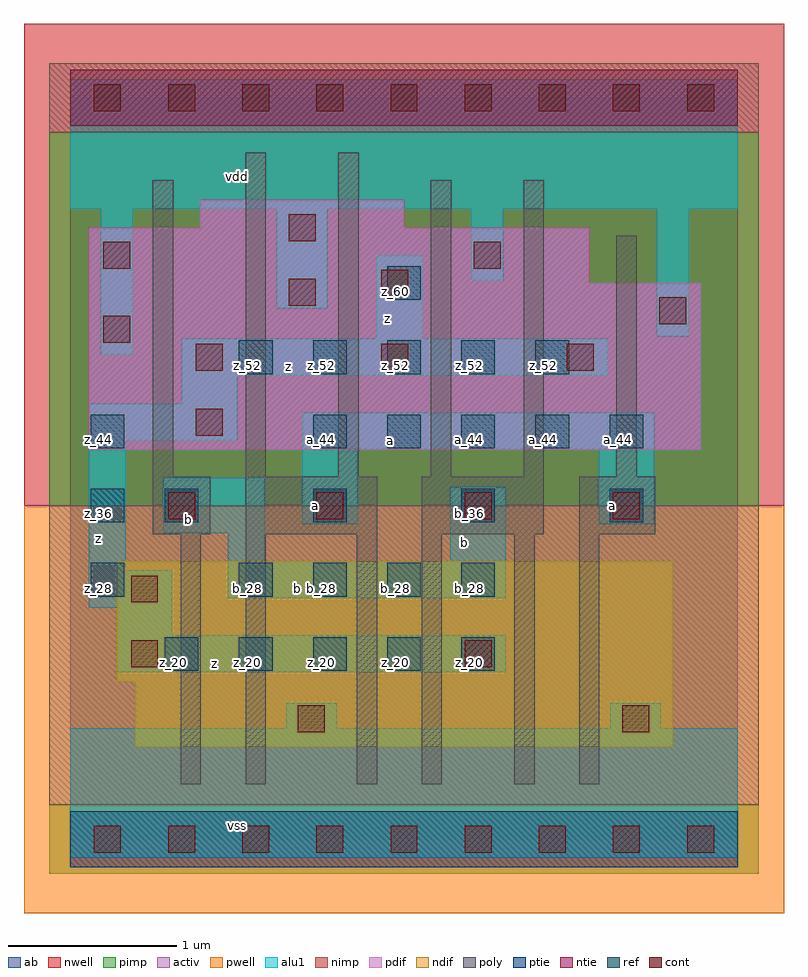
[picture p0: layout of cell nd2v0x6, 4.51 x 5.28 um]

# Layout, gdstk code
import gdstk
lib = gdstk.Library(unit=1e-6, precision=2.5e-09)
def R(c, l, rs):  # rectangles x0, y0, x1, y1
    for r in rs: c.add(gdstk.rectangle(r[:2], r[2:], *l))
def A(c, l, x, y, w, h, nx, ny, dx, dy):  # array of equal rectangles
    R(c, l, [(x+i*dx, y+j*dy, x+i*dx+w, y+j*dy+h) for i in range(nx) for j in range(ny)])
ndif = (3, 0)
pdif = (4, 0)
ntie = (5, 0)
ptie = (6, 0)
ref = (24, 0)
cont = (25, 0)
pwell = (41, 0)
nwell = (42, 0)
activ = (43, 0)
pimp = (44, 0)
nimp = (45, 0)
poly = (46, 0)
alu1 = (49, 0)
ab = (63, 0)

nd2v0x6 = lib.new_cell('nd2v0x6')
R(nd2v0x6, ndif, [(0.385,0.55,3.575,0.935), (0.275,0.935,3.575,1.65)])
R(nd2v0x6, pdif, [(0.11,2.31,3.74,3.3), (0.11,3.3,3.08,3.63), (0.77,3.63,1.98,3.795)])
R(nd2v0x6, ntie, [(0,4.235,3.96,4.565)])
R(nd2v0x6, ptie, [(0,-0.165,3.96,0.165)])
A(nd2v0x6, ref, 0.56, 1, 0.2, 0.2, 5, 1, 0.44, 0)
A(nd2v0x6, ref, 0.12, 1.44, 0.2, 0.2, 1, 3, 0, 0.44)
A(nd2v0x6, ref, 1, 1.44, 0.2, 0.2, 4, 1, 0.44, 0)
A(nd2v0x6, ref, 0.56, 1.88, 0.2, 0.2, 4, 1, 0.88, 0)
A(nd2v0x6, ref, 1.44, 2.32, 0.2, 0.2, 5, 1, 0.44, 0)
A(nd2v0x6, ref, 1, 2.76, 0.2, 0.2, 5, 1, 0.44, 0)
R(nd2v0x6, ref, [(1.88,3.2,2.08,3.4)])
A(nd2v0x6, cont, 0.14, -0.08, 0.16, 0.16, 9, 2, 0.44, 4.4)
A(nd2v0x6, cont, 0.58, 1.9, 0.16, 0.16, 4, 1, 0.88, 0)
A(nd2v0x6, cont, 0.745, 2.78, 0.16, 0.16, 3, 1, 1.1, 0)
R(nd2v0x6, cont, [(1.35,0.635,1.51,0.795), (3.275,0.635,3.435,0.795), (0.36,1.02,0.52,1.18), (2.34,1.02,2.5,1.18), (0.36,1.405,0.52,1.565), (0.745,2.395,0.905,2.555), (0.195,2.945,0.355,3.105), (3.495,3.055,3.655,3.215), (1.295,3.165,1.455,3.325), (1.845,3.22,2.005,3.38), (0.195,3.385,0.355,3.545), (2.395,3.385,2.555,3.545), (1.295,3.55,1.455,3.71)])
R(nd2v0x6, pwell, [(-0.275,-0.44,4.235,1.98)])
R(nd2v0x6, nwell, [(-0.275,1.98,4.235,4.84)])
R(nd2v0x6, activ, [(0,-0.165,3.96,0.165), (0.385,0.55,3.575,0.935), (0.275,0.935,3.575,1.65), (0.11,2.31,3.74,3.3), (0.11,3.3,3.08,3.63), (0.77,3.63,1.98,3.795), (0,4.235,3.96,4.565)])
R(nd2v0x6, pimp, [(-0.125,-0.205,4.085,0.205), (-0.125,1.98,4.085,4.195)])
R(nd2v0x6, nimp, [(-0.125,0.205,4.085,1.98), (-0.125,4.195,4.085,4.605)])
R(nd2v0x6, poly, [(0.655,0.325,0.775,1.81), (1.04,0.325,1.16,1.81), (1.7,0.325,1.82,1.81), (2.085,0.325,2.205,1.81), (2.635,0.325,2.755,1.81), (3.02,0.325,3.14,1.81), (0.49,1.81,0.83,2.15), (1.04,1.81,1.82,2.15), (2.085,1.81,2.81,2.15), (3.02,1.81,3.47,2.15), (0.49,2.15,0.61,3.91), (1.04,2.15,1.16,4.075), (1.59,2.15,1.71,4.075), (2.14,2.15,2.26,3.91), (2.69,2.15,2.81,3.91), (3.24,2.15,3.36,3.58)])
R(nd2v0x6, alu1, [(0,-0.11,3.96,0.66), (1.28,0.66,1.58,0.81), (3.205,0.66,3.505,0.81), (0.275,0.99,2.585,1.21), (0.275,1.21,0.605,1.375), (0.11,1.375,0.605,1.595), (0.935,1.43,2.585,1.65), (0.11,1.595,0.33,2.365), (0.935,1.65,1.155,1.815), (2.255,1.65,2.585,2.09), (0.55,1.815,1.155,2.145), (1.375,1.87,1.705,2.31), (3.135,1.87,3.465,2.31), (1.375,2.31,3.465,2.53), (0.11,2.365,0.99,2.585), (0.66,2.585,0.99,2.75), (0.66,2.75,3.19,2.97), (0.18,2.875,0.37,3.74), (1.815,2.97,2.09,3.465), (3.48,2.985,3.67,3.74), (1.225,3.15,1.525,3.74), (2.38,3.315,2.57,3.74), (0,3.74,3.96,4.51)])
R(nd2v0x6, ab, [(0,0,3.96,4.4)])
nd2v0x6.add(gdstk.Label('vss', (0.99,0.0825), layer=49, texttype=0))
nd2v0x6.add(gdstk.Label('z', (0.8525,1.045), layer=49, texttype=0))
nd2v0x6.add(gdstk.Label('b', (1.3475,1.485), layer=49, texttype=0))
nd2v0x6.add(gdstk.Label('a', (3.2175,1.98), layer=49, texttype=0))
nd2v0x6.add(gdstk.Label('b', (2.3375,1.76), layer=49, texttype=0))
nd2v0x6.add(gdstk.Label('a', (1.4575,1.98), layer=49, texttype=0))
nd2v0x6.add(gdstk.Label('b', (0.7,1.8975), layer=49, texttype=0))
nd2v0x6.add(gdstk.Label('a', (1.8975,2.365), layer=49, texttype=0))
nd2v0x6.add(gdstk.Label('z', (0.165,1.7875), layer=49, texttype=0))
nd2v0x6.add(gdstk.Label('z', (1.2925,2.805), layer=49, texttype=0))
nd2v0x6.add(gdstk.Label('z', (1.8825,3.0925), layer=49, texttype=0))
nd2v0x6.add(gdstk.Label('vdd', (0.99,3.9325), layer=49, texttype=0))
nd2v0x6.add(gdstk.Label('a_44', (3.25,2.37), layer=24, texttype=0))
nd2v0x6.add(gdstk.Label('a_36', (3.25,1.93), layer=24, texttype=0))
nd2v0x6.add(gdstk.Label('z_52', (2.81,2.81), layer=24, texttype=0))
nd2v0x6.add(gdstk.Label('a_44', (2.81,2.37), layer=24, texttype=0))
nd2v0x6.add(gdstk.Label('z_52', (2.37,2.81), layer=24, texttype=0))
nd2v0x6.add(gdstk.Label('a_44', (2.37,2.37), layer=24, texttype=0))
nd2v0x6.add(gdstk.Label('b_36', (2.37,1.93), layer=24, texttype=0))
nd2v0x6.add(gdstk.Label('b_28', (2.37,1.49), layer=24, texttype=0))
nd2v0x6.add(gdstk.Label('z_20', (2.37,1.05), layer=24, texttype=0))
nd2v0x6.add(gdstk.Label('z_44', (0.17,2.37), layer=24, texttype=0))
nd2v0x6.add(gdstk.Label('z_36', (0.17,1.93), layer=24, texttype=0))
nd2v0x6.add(gdstk.Label('z_28', (0.17,1.49), layer=24, texttype=0))
nd2v0x6.add(gdstk.Label('z_60', (1.93,3.25), layer=24, texttype=0))
nd2v0x6.add(gdstk.Label('z_52', (1.93,2.81), layer=24, texttype=0))
nd2v0x6.add(gdstk.Label('a_44', (1.93,2.37), layer=24, texttype=0))
nd2v0x6.add(gdstk.Label('b_28', (1.93,1.49), layer=24, texttype=0))
nd2v0x6.add(gdstk.Label('z_20', (1.93,1.05), layer=24, texttype=0))
nd2v0x6.add(gdstk.Label('z_52', (1.49,2.81), layer=24, texttype=0))
nd2v0x6.add(gdstk.Label('a_44', (1.49,2.37), layer=24, texttype=0))
nd2v0x6.add(gdstk.Label('a_36', (1.49,1.93), layer=24, texttype=0))
nd2v0x6.add(gdstk.Label('b_28', (1.49,1.49), layer=24, texttype=0))
nd2v0x6.add(gdstk.Label('z_20', (1.49,1.05), layer=24, texttype=0))
nd2v0x6.add(gdstk.Label('z_52', (1.05,2.81), layer=24, texttype=0))
nd2v0x6.add(gdstk.Label('b_28', (1.05,1.49), layer=24, texttype=0))
nd2v0x6.add(gdstk.Label('z_20', (1.05,1.05), layer=24, texttype=0))
nd2v0x6.add(gdstk.Label('b_36', (0.61,1.93), layer=24, texttype=0))
nd2v0x6.add(gdstk.Label('z_20', (0.61,1.05), layer=24, texttype=0))

lib.write_gds('nd2v0x6.gds')
